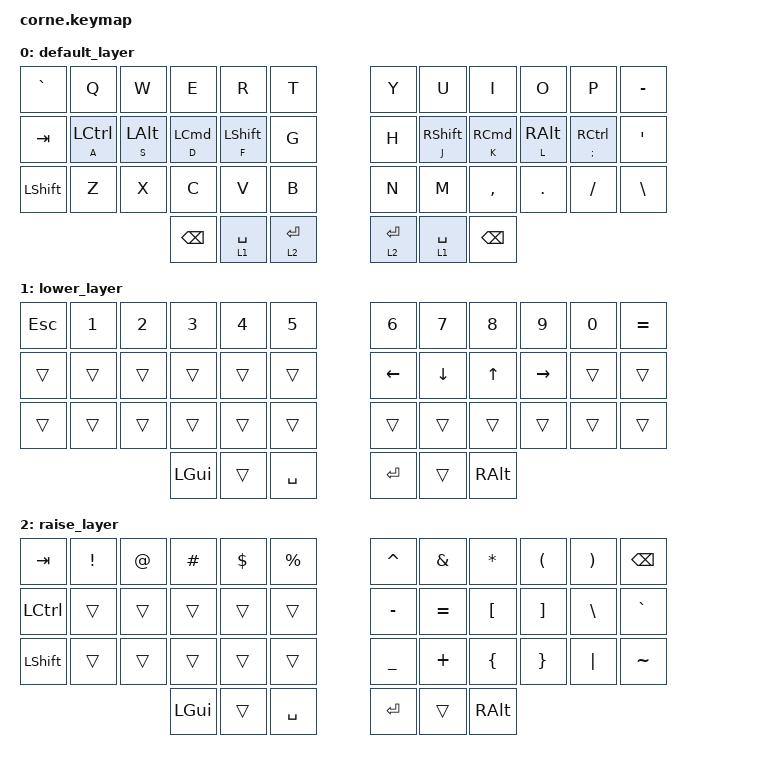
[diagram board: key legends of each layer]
// #include "../../../corne.keymap"
/*
 * Copyright (c) 2020 The ZMK Contributors
 *
 * SPDX-License-Identifier: MIT
 */

#include <behaviors.dtsi>
#include <dt-bindings/zmk/keys.h>

/ {
    keymap {
        compatible = "zmk,keymap";

        default_layer {
            // -----------------------------------------------------------------------------------------
            // |  TAB |  Q  |  W  |  E  |  R  |  T  |   |  Y  |  U   |  I  |  O  |  P  | BKSP |
            // | CTRL |  A  |  S  |  D  |  F  |  G  |   |  H  |  J   |  K  |  L  |  ;  |  '   |
            // | SHFT |  Z  |  X  |  C  |  V  |  B  |   |  N  |  M   |  ,  |  .  |  /  | ESC  |
            //                    | GUI | LWR | SPC |   | ENT | RSE  | ALT |

            bindings = <
&kp GRAVE  &kp Q        &kp W           &kp E               &kp R             &kp T          &kp Y        &kp U              &kp I                &kp O            &kp P           &kp MINUS
&kp TAB    &mt A LCTRL  &mt S LEFT_ALT  &mt D LEFT_COMMAND  &mt F LEFT_SHIFT  &kp G          &kp H        &mt J RIGHT_SHIFT  &mt K RIGHT_COMMAND  &mt L RIGHT_ALT  &mt SEMI RCTRL  &kp SQT
&kp LSHFT  &kp Z        &kp X           &kp C               &kp V             &kp B          &kp N        &kp M              &kp COMMA            &kp DOT          &kp FSLH        &kp BACKSLASH
                                        &kp BACKSPACE       &lt 1 SPACE       &lt 2 ENTER    &lt 2 ENTER  &lt 1 SPACE        &kp BACKSPACE
            >;
        };

        lower_layer {
            // -----------------------------------------------------------------------------------------
            // |  TAB |  1  |  2  |  3  |  4  |  5  |   |  6  |  7  |  8  |  9  |  0  | BKSP |
            // | BTCLR| BT1 | BT2 | BT3 | BT4 | BT5 |   | LFT | DWN |  UP | RGT |     |      |
            // | SHFT |     |     |     |     |     |   |     |     |     |     |     |      |
            //                    | GUI |     | SPC |   | ENT |     | ALT |

            bindings = <
&kp ESCAPE  &kp N1  &kp N2  &kp N3    &kp N4  &kp N5       &kp N6    &kp N7    &kp N8    &kp N9     &kp N0  &kp EQUAL
&trans      &trans  &trans  &trans    &trans  &trans       &kp LEFT  &kp DOWN  &kp UP    &kp RIGHT  &trans  &trans
&trans      &trans  &trans  &trans    &trans  &trans       &trans    &trans    &trans    &trans     &trans  &trans
                            &kp LGUI  &trans  &kp SPACE    &kp RET   &trans    &kp RALT
            >;
        };

        raise_layer {
            // -----------------------------------------------------------------------------------------
            // |  TAB |  !  |  @  |  #  |  $  |  %  |   |  ^  |  &  |  *  |  (  |  )  | BKSP |
            // | CTRL |     |     |     |     |     |   |  -  |  =  |  [  |  ]  |  \  |  `   |
            // | SHFT |     |     |     |     |     |   |  _  |  +  |  {  |  }  | "|" |  ~   |
            //                    | GUI |     | SPC |   | ENT |     | ALT |

            bindings = <
&kp TAB    &kp EXCL  &kp AT  &kp HASH  &kp DLLR  &kp PRCNT    &kp CARET  &kp AMPS   &kp ASTRK  &kp LPAR  &kp RPAR  &kp BSPC
&kp LCTRL  &trans    &trans  &trans    &trans    &trans       &kp MINUS  &kp EQUAL  &kp LBKT   &kp RBKT  &kp BSLH  &kp GRAVE
&kp LSHFT  &trans    &trans  &trans    &trans    &trans       &kp UNDER  &kp PLUS   &kp LBRC   &kp RBRC  &kp PIPE  &kp TILDE
                             &kp LGUI  &trans    &kp SPACE    &kp RET    &trans     &kp RALT
            >;
        };
    };
};
